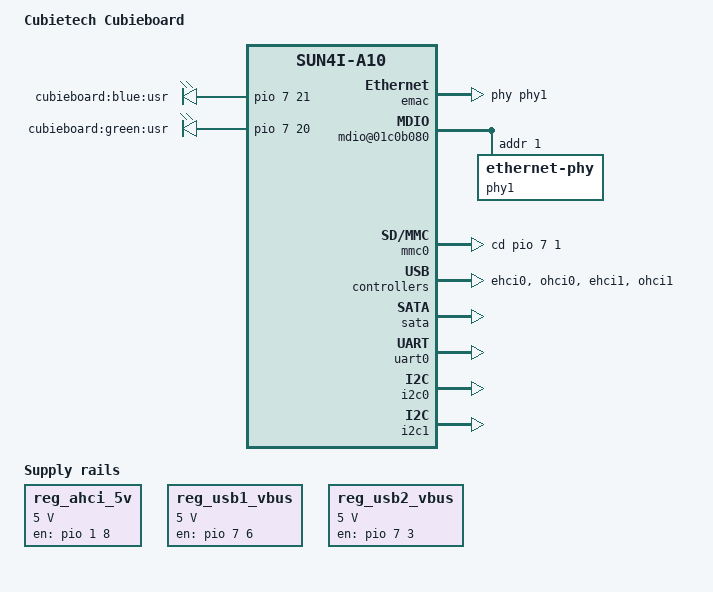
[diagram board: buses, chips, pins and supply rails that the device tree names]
/*
 * Copyright 2012 Stefan Roese
 * Stefan Roese <sr@denx.de>
 *
 * The code contained herein is licensed under the GNU General Public
 * License. You may obtain a copy of the GNU General Public License
 * Version 2 or later at the following locations:
 *
 * http://www.opensource.org/licenses/gpl-license.html
 * http://www.gnu.org/copyleft/gpl.html
 */

/dts-v1/;
/include/ "sun4i-a10.dtsi"

/ {
	model = "Cubietech Cubieboard";
	compatible = "cubietech,a10-cubieboard", "allwinner,sun4i-a10";

	aliases {
		serial0 = &uart0;
		serial1 = &uart1;
	};

	chosen {
		bootargs = "earlyprintk console=ttyS0,115200";
	};

	soc@01c00000 {
		emac: ethernet@01c0b000 {
			pinctrl-names = "default";
			pinctrl-0 = <&emac_pins_a>;
			phy = <&phy1>;
			status = "okay";
		};

		mdio@01c0b080 {
			status = "okay";

			phy1: ethernet-phy@1 {
				reg = <1>;
			};
		};

		mmc0: mmc@01c0f000 {
			pinctrl-names = "default";
			pinctrl-0 = <&mmc0_pins_a>;
			pinctrl-1 = <&mmc0_cd_pin_cubieboard>;
			cd-gpios = <&pio 7 1 0>; /* PH1 */
			cd-mode = <1>;
			status = "okay";
		};

		usbphy: phy@0x01c13400 {
			usb1_vbus-supply = <&reg_usb1_vbus>;
			usb2_vbus-supply = <&reg_usb2_vbus>;
			status = "okay";
		};

		ehci0: ehci@0x01c14000 {
			status = "okay";
		};

		ohci0: ohci@0x01c14400 {
			status = "okay";
		};

		sata: ahci@01c18000 {
			pwr-supply = <&reg_ahci_5v>;
			status = "okay";
		};

		ehci1: ehci@0x01c1c000 {
			status = "okay";
		};

		ohci1: ohci@0x01c1c400 {
			status = "okay";
		};

		pinctrl@01c20800 {
			ahci_pwr_pin_cubieboard: ahci_pwr_pin@0 {
				allwinner,pins = "PB8";
				allwinner,function = "gpio_out";
				allwinner,drive = <0>;
				allwinner,pull = <0>;
			};

			mmc0_cd_pin_cubieboard: mmc0_cd_pin@0 {
				allwinner,pins = "PH1";
				allwinner,function = "gpio_in";
				allwinner,drive = <0>;
				allwinner,pull = <0>;
			};

			led_pins_cubieboard: led_pins@0 {
				allwinner,pins = "PH20", "PH21";
				allwinner,function = "gpio_out";
				allwinner,drive = <1>;
				allwinner,pull = <0>;
			};

			usb1_vbus_pin_cubieboard: usb1_vbus_pin@0 {
					allwinner,pins = "PH6";
					allwinner,function = "gpio_out";
					allwinner,drive = <0>;
					allwinner,pull = <0>;
			};

			usb2_vbus_pin_cubieboard: usb2_vbus_pin@0 {
					allwinner,pins = "PH3";
					allwinner,function = "gpio_out";
					allwinner,drive = <0>;
					allwinner,pull = <0>;
			};
		};

		uart0: serial@01c28000 {
			pinctrl-names = "default";
			pinctrl-0 = <&uart0_pins_a>;
			status = "okay";
		};

		i2c0: i2c@01c2ac00 {
			pinctrl-names = "default";
			pinctrl-0 = <&i2c0_pins_a>;
			status = "okay";
		};

		i2c1: i2c@01c2b000 {
			pinctrl-names = "default";
			pinctrl-0 = <&i2c1_pins_a>;
			status = "okay";
		};
	};

	leds {
		compatible = "gpio-leds";
		pinctrl-names = "default";
		pinctrl-0 = <&led_pins_cubieboard>;

		blue {
			label = "cubieboard:blue:usr";
			gpios = <&pio 7 21 0>; /* LED1 */
		};

		green {
			label = "cubieboard:green:usr";
			gpios = <&pio 7 20 0>; /* LED2 */
			linux,default-trigger = "heartbeat";
		};
	};

	regulators {
		compatible = "simple-bus";
		pinctrl-names = "default";

		reg_ahci_5v: ahci-5v {
			compatible = "regulator-fixed";
			regulator-name = "ahci-5v";
			regulator-min-microvolt = <5000000>;
			regulator-max-microvolt = <5000000>;
			pinctrl-0 = <&ahci_pwr_pin_cubieboard>;
			gpio = <&pio 1 8 0>;
			enable-active-high;
		};

		reg_usb1_vbus: usb1-vbus {
			compatible = "regulator-fixed";
			pinctrl-names = "default";
			pinctrl-0 = <&usb1_vbus_pin_cubieboard>;
			regulator-name = "usb1-vbus";
			regulator-min-microvolt = <5000000>;
			regulator-max-microvolt = <5000000>;
			enable-active-high;
			gpio = <&pio 7 6 0>;
		};

		reg_usb2_vbus: usb2-vbus {
			compatible = "regulator-fixed";
			pinctrl-names = "default";
			pinctrl-0 = <&usb2_vbus_pin_cubieboard>;
			regulator-name = "usb2-vbus";
			regulator-min-microvolt = <5000000>;
			regulator-max-microvolt = <5000000>;
			enable-active-high;
			gpio = <&pio 7 3 0>;
		};
	};
};
